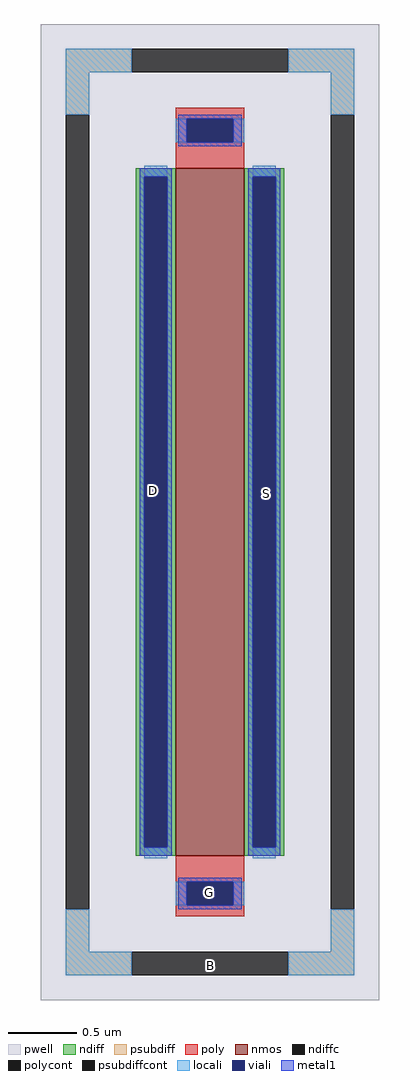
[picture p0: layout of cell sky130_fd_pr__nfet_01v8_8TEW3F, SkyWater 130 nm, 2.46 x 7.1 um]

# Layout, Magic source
magic
tech sky130A
magscale 1 2
<< pwell >>
rect -246 -710 246 710
<< nmos >>
rect -50 -500 50 500
<< ndiff >>
rect -108 488 -50 500
rect -108 -488 -96 488
rect -62 -488 -50 488
rect -108 -500 -50 -488
rect 50 488 108 500
rect 50 -488 62 488
rect 96 -488 108 488
rect 50 -500 108 -488
<< ndiffc >>
rect -96 -488 -62 488
rect 62 -488 96 488
<< psubdiff >>
rect -210 640 -114 674
rect 114 640 210 674
rect -210 578 -176 640
rect 176 578 210 640
rect -210 -640 -176 -578
rect 176 -640 210 -578
rect -210 -674 -114 -640
rect 114 -674 210 -640
<< psubdiffcont >>
rect -114 640 114 674
rect -210 -578 -176 578
rect 176 -578 210 578
rect -114 -674 114 -640
<< poly >>
rect -50 572 50 588
rect -50 538 -34 572
rect 34 538 50 572
rect -50 500 50 538
rect -50 -538 50 -500
rect -50 -572 -34 -538
rect 34 -572 50 -538
rect -50 -588 50 -572
<< polycont >>
rect -34 538 34 572
rect -34 -572 34 -538
<< locali >>
rect -210 640 -114 674
rect 114 640 210 674
rect -210 578 -176 640
rect 176 578 210 640
rect -50 538 -34 572
rect 34 538 50 572
rect -96 488 -62 504
rect -96 -504 -62 -488
rect 62 488 96 504
rect 62 -504 96 -488
rect -50 -572 -34 -538
rect 34 -572 50 -538
rect -210 -640 -176 -578
rect 176 -640 210 -578
rect -210 -674 -114 -640
rect 114 -674 210 -640
<< viali >>
rect -34 538 34 572
rect -96 -488 -62 488
rect 62 -488 96 488
rect -34 -572 34 -538
<< metal1 >>
rect -46 572 46 578
rect -46 538 -34 572
rect 34 538 46 572
rect -46 532 46 538
rect -102 488 -56 500
rect -102 -488 -96 488
rect -62 -488 -56 488
rect -102 -500 -56 -488
rect 56 488 102 500
rect 56 -488 62 488
rect 96 -488 102 488
rect 56 -500 102 -488
rect -46 -538 46 -532
rect -46 -572 -34 -538
rect 34 -572 46 -538
rect -46 -578 46 -572
<< labels >>
flabel metal1 s -82 31 -82 31 0 FreeSans 480 0 0 0 D
port 24 nsew
flabel metal1 s 82 27 82 27 0 FreeSans 480 0 0 0 S
port 25 nsew
flabel metal1 s -1 -554 -1 -554 0 FreeSans 480 0 0 0 G
port 26 nsew
flabel locali s 1 -660 1 -660 0 FreeSans 480 0 0 0 B
port 27 nsew
<< properties >>
string FIXED_BBOX -193 -657 193 657
string gencell sky130_fd_pr__nfet_01v8
string library sky130
string parameters w 5.0 l 0.5 m 1 nf 1 diffcov 100 polycov 100 guard 1 glc 1 grc 1 gtc 1 gbc 1 tbcov 100 rlcov 100 topc 1 botc 1 poverlap 0 doverlap 1 lmin 0.15 wmin 0.42 compatible {sky130_fd_pr__nfet_01v8 sky130_fd_pr__nfet_01v8_lvt  sky130_fd_bs_flash__special_sonosfet_star  sky130_fd_pr__nfet_g5v0d10v5 sky130_fd_pr__nfet_05v0_nvt  sky130_fd_pr__nfet_03v3_nvt} full_metal 1 viasrc 100 viadrn 100 viagate 100 viagb 0 viagr 0 viagl 0 viagt 0
<< end >>
